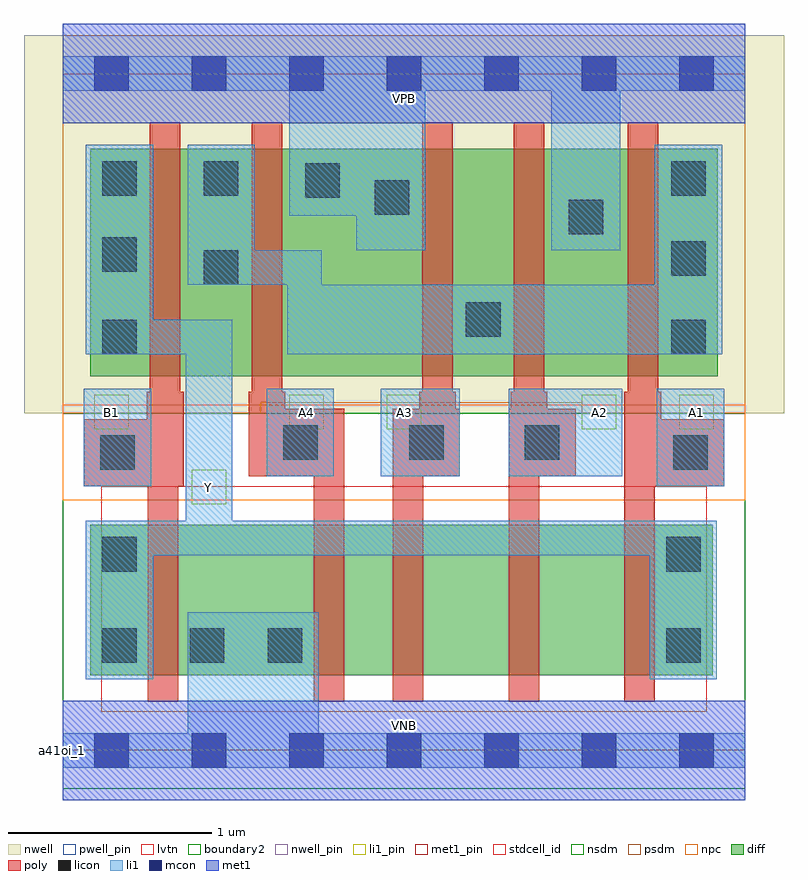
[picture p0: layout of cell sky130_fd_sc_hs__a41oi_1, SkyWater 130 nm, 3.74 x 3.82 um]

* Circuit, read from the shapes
.subckt sky130_fd_sc_hs__a41oi_1 A1 A2 A3 A4 B1 VGND VNB VPB VPWR Y
XM1 VGND B1 Y VNB sky130_fd_pr__nfet_01v8_lvt w=0.74 l=0.15
XM2 n1 A4 VGND VNB sky130_fd_pr__nfet_01v8_lvt w=0.74 l=0.15
XM3 n2 A3 n1 VNB sky130_fd_pr__nfet_01v8_lvt w=0.74 l=0.15
XM4 n3 A2 n2 VNB sky130_fd_pr__nfet_01v8_lvt w=0.74 l=0.15
XM5 Y A1 n3 VNB sky130_fd_pr__nfet_01v8_lvt w=0.74 l=0.15
XM6 n4 B1 Y VPB sky130_fd_pr__pfet_01v8 w=1.12 l=0.15
XM7 VPWR A4 n4 VPB sky130_fd_pr__pfet_01v8 w=1.12 l=0.15
XM8 n4 A3 VPWR VPB sky130_fd_pr__pfet_01v8 w=1.12 l=0.15
XM9 VPWR A2 n4 VPB sky130_fd_pr__pfet_01v8 w=1.12 l=0.15
XM10 n4 A1 VPWR VPB sky130_fd_pr__pfet_01v8 w=1.12 l=0.15
.ends

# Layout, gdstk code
import gdstk
lib = gdstk.Library(unit=1e-6, precision=1e-09)
def R(c, l, rs):  # rectangles x0, y0, x1, y1
    for r in rs: c.add(gdstk.rectangle(r[:2], r[2:], *l))
def A(c, l, x, y, w, h, nx, ny, dx, dy):  # array of equal rectangles
    R(c, l, [(x+i*dx, y+j*dy, x+i*dx+w, y+j*dy+h) for i in range(nx) for j in range(ny)])
def P(c, l, *ps):  # polygons
    for p in ps: c.add(gdstk.Polygon(p, *l))
nwell_pin = (64, 16)
nwell = (64, 20)
diff = (65, 20)
poly = (66, 20)
licon = (66, 44)
li1_pin = (67, 16)
li1 = (67, 20)
mcon = (67, 44)
met1_pin = (68, 16)
met1 = (68, 20)
stdcell_id = (81, 4)
nsdm = (93, 44)
psdm = (94, 20)
npc = (95, 20)
pwell_pin = (122, 16)
lvtn = (125, 44)
boundary2 = (236, 0)

sky130_fd_sc_hs__a41oi_1 = lib.new_cell('sky130_fd_sc_hs__a41oi_1')
R(sky130_fd_sc_hs__a41oi_1, nwell_pin, [(0,3.085,3.36,3.33)])
R(sky130_fd_sc_hs__a41oi_1, nwell, [(-0.19,1.66,3.55,3.52)])
R(sky130_fd_sc_hs__a41oi_1, diff, [(0.135,0.37,3.2,1.11), (0.135,1.84,3.225,2.96)])
P(sky130_fd_sc_hs__a41oi_1, poly, [(3.255,1.63),(2.945,1.63),(2.945,1.765),(2.93,1.765),(2.93,3.09),(2.78,3.09),(2.78,1.765),(2.765,1.765),(2.765,0.24),(2.915,0.24),(2.915,1.3),(3.255,1.3)],
  [(2.525,1.68),(2.385,1.68),(2.385,1.765),(2.37,1.765),(2.37,3.09),(2.22,3.09),(2.22,1.765),(2.205,1.765),(2.205,1.68),(2.195,1.68),(2.195,0.24),(2.345,0.24),(2.345,1.35),(2.525,1.35)],
  [(1.955,1.68),(1.935,1.68),(1.935,1.765),(1.92,1.765),(1.92,3.09),(1.77,3.09),(1.77,1.765),(1.755,1.765),(1.755,1.68),(1.625,1.68),(1.625,0.24),(1.775,0.24),(1.775,1.35),(1.955,1.35)],
  [(1.385,1.68),(1.095,1.68),(1.095,1.765),(1.08,1.765),(1.08,3.09),(0.93,3.09),(0.93,1.765),(0.915,1.765),(0.915,1.35),(1.235,1.35),(1.235,0.24),(1.385,0.24)],
  [(0.595,1.765),(0.58,1.765),(0.58,3.09),(0.43,3.09),(0.43,1.765),(0.415,1.765),(0.415,1.63),(0.105,1.63),(0.105,1.3),(0.42,1.3),(0.42,0.24),(0.57,0.24),(0.57,1.3),(0.595,1.3)])
R(sky130_fd_sc_hs__a41oi_1, licon, [(0.195,0.43,0.365,0.6), (0.625,0.43,0.795,0.6), (1.01,0.43,1.18,0.6), (2.97,0.43,3.14,0.6), (0.195,0.88,0.365,1.05), (2.97,0.88,3.14,1.05), (0.185,1.38,0.355,1.55), (3.005,1.38,3.175,1.55), (1.085,1.43,1.255,1.6), (1.705,1.43,1.875,1.6), (2.275,1.43,2.445,1.6), (0.195,1.95,0.365,2.12), (2.995,1.95,3.165,2.12), (1.985,2.035,2.155,2.205), (0.695,2.29,0.865,2.46), (2.995,2.335,3.165,2.505), (0.195,2.355,0.365,2.525), (2.49,2.54,2.66,2.71), (1.535,2.635,1.705,2.805), (1.195,2.72,1.365,2.89), (0.195,2.73,0.365,2.9), (0.695,2.73,0.865,2.9), (2.995,2.73,3.165,2.9)])
R(sky130_fd_sc_hs__a41oi_1, li1_pin, [(0.635,1.21,0.805,1.38), (0.155,1.58,0.325,1.75), (1.115,1.58,1.285,1.75), (1.595,1.58,1.765,1.75), (2.555,1.58,2.725,1.75), (3.035,1.58,3.205,1.75)])
R(sky130_fd_sc_hs__a41oi_1, li1, [(0.105,1.3,0.435,1.78), (2.925,1.3,3.255,1.78), (1.005,1.35,1.335,1.78), (1.565,1.35,1.955,1.78), (2.195,1.35,2.755,1.78)])
P(sky130_fd_sc_hs__a41oi_1, li1, [(0,-0.085),(0,0.085),(0.615,0.085),(0.615,0.68),(1.26,0.68),(1.26,0.085),(3.36,0.085),(3.36,-0.085)],
  [(0,3.245),(0,3.415),(3.36,3.415),(3.36,3.245),(2.745,3.245),(2.745,2.46),(2.405,2.46),(2.405,3.245),(1.785,3.245),(1.785,2.46),(1.445,2.46),(1.445,2.63),(1.115,2.63),(1.115,3.245)],
  [(0.835,1.13),(3.22,1.13),(3.22,0.35),(2.89,0.35),(2.89,0.96),(0.445,0.96),(0.445,0.35),(0.115,0.35),(0.115,1.13),(0.605,1.13),(0.605,1.95),(0.115,1.95),(0.115,2.98),(0.445,2.98),(0.445,2.12),(0.835,2.12)],
  [(2.915,2.29),(2.915,2.98),(3.245,2.98),(3.245,1.95),(1.105,1.95),(1.105,2.29),(0.615,2.29),(0.615,2.98),(0.945,2.98),(0.945,2.46),(1.275,2.46),(1.275,2.29)])
A(sky130_fd_sc_hs__a41oi_1, mcon, 0.155, -0.085, 0.17, 0.17, 7, 2, 0.48, 3.33)
R(sky130_fd_sc_hs__a41oi_1, met1_pin, [(0,0,3.36,0.245), (0,3.085,3.36,3.33)])
R(sky130_fd_sc_hs__a41oi_1, met1, [(0,-0.245,3.36,0.245), (0,3.085,3.36,3.575)])
R(sky130_fd_sc_hs__a41oi_1, stdcell_id, [(0,0,3.36,3.33)])
R(sky130_fd_sc_hs__a41oi_1, nsdm, [(0,-0.19,3.36,1.66)])
P(sky130_fd_sc_hs__a41oi_1, psdm, [(3.36,3.52),(0,3.52),(0,1.66),(0.975,1.66),(0.975,1.71),(2.555,1.71),(2.555,1.66),(3.36,1.66)])
R(sky130_fd_sc_hs__a41oi_1, npc, [(0,1.23,3.36,1.7)])
R(sky130_fd_sc_hs__a41oi_1, pwell_pin, [(0,0,3.36,0.245)])
R(sky130_fd_sc_hs__a41oi_1, lvtn, [(0.19,0.19,3.17,1.3)])
R(sky130_fd_sc_hs__a41oi_1, boundary2, [(0,0,3.36,3.33)])
sky130_fd_sc_hs__a41oi_1.add(gdstk.Label('a41oi_1', (0,0), layer=83, texttype=44))
sky130_fd_sc_hs__a41oi_1.add(gdstk.Label('VNB', (1.68,0.123), layer=64, texttype=59))
sky130_fd_sc_hs__a41oi_1.add(gdstk.Label('VPB', (1.68,3.208), layer=64, texttype=5))
sky130_fd_sc_hs__a41oi_1.add(gdstk.Label('VPWR', (1.68,3.208), layer=68, texttype=5))
sky130_fd_sc_hs__a41oi_1.add(gdstk.Label('VGND', (1.68,0.123), layer=68, texttype=5))
sky130_fd_sc_hs__a41oi_1.add(gdstk.Label('Y', (0.72,1.295), layer=67, texttype=5))
sky130_fd_sc_hs__a41oi_1.add(gdstk.Label('A2', (2.64,1.665), layer=67, texttype=5))
sky130_fd_sc_hs__a41oi_1.add(gdstk.Label('A1', (3.12,1.665), layer=67, texttype=5))
sky130_fd_sc_hs__a41oi_1.add(gdstk.Label('B1', (0.24,1.665), layer=67, texttype=5))
sky130_fd_sc_hs__a41oi_1.add(gdstk.Label('A4', (1.2,1.665), layer=67, texttype=5))
sky130_fd_sc_hs__a41oi_1.add(gdstk.Label('A3', (1.68,1.665), layer=67, texttype=5))

lib.write_gds('sky130_fd_sc_hs__a41oi_1.gds')
